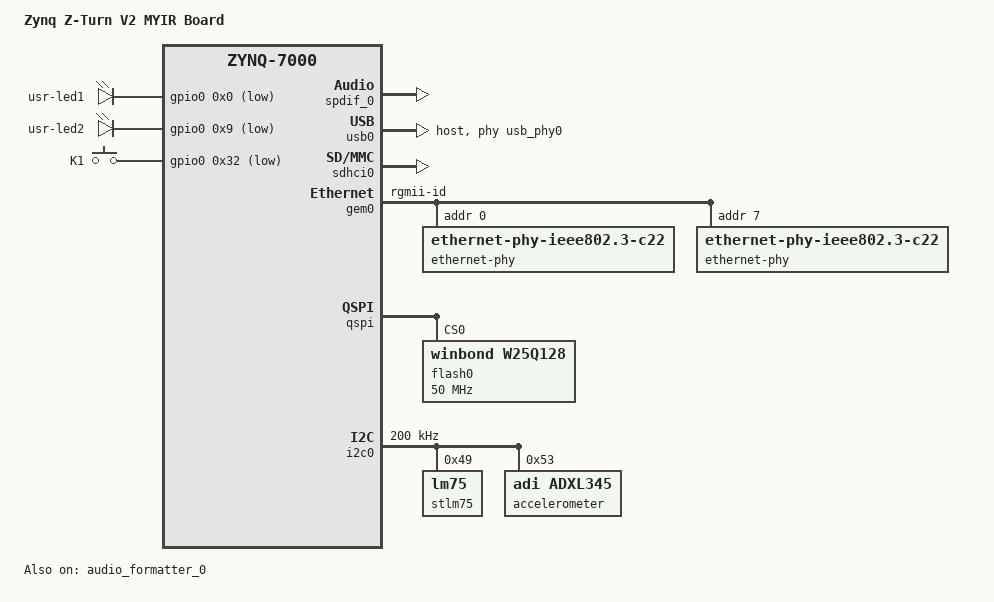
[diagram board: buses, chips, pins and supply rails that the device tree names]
/include/ "system-conf.dtsi"
/ {
  model = "Zynq Z-Turn V2 MYIR Board";
  compatible = "myir,zynq-zturn", "xlnx,zynq-7000";
  
  gpio-leds {
    compatible = "gpio-leds";
    usr-led1 {
      label = "usr-led1";
      gpios = <&gpio0 0x0 0x1>;
      default-state = "off";
    };
   
    usr-led2 {
      label = "usr-led2";
      gpios = <&gpio0 0x9 0x1>;
      default-state = "off";
    };
  };
   
  gpio-keys {
    compatible = "gpio-keys";
    autorepeat;
    K1 {
      label = "K1";
      gpios = <&gpio0 0x32 0x1>;
      linux,code = <0x66>;
      wakeup-source;
      autorepeat;
    };
  };

  usb_phy0: usb_phy@0 {
    compatible = "ulpi-phy";
    #phy-cells = <0>;
    reg = <0xe0002000 0x1000>;
    view-port = <0x170>;
    drv-vbus;
  };
  
  sound {
      compatible = "simple-audio-card";
      simple-audio-card,name = "Zynq Sound Formatter";
      simple-audio-card,bitclock-master = <&dailink0_master>;
      simple-audio-card,frame-master = <&dailink0_master>;
      
      /* advertise supported rates & formats */
      simple-audio-card,rates = <32000 48000 96000 192000>;
      simple-audio-card,formats = "S16_LE", "S24_LE";
  
      simple-audio-card,cpu {
          sound-dai = <&audio_formatter_0>;  /* <- Sound Formatter IP */
      };
  
      dailink0_master: simple-audio-card,codec {
          sound-dai = <&spdif_0>;
      };
  };
};

/* Fix broken link to DAI */
&audio_formatter_0 {
  status = "okay";
  xlnx,tx = <&spdif_0>;
};

/* Link the SPDIF IP with its Audio Formatter */
&spdif_0 {
  status = "okay";
  xlnx,snd-pcm = <&audio_formatter_0>;
};

&usb0 {
  status = "okay";
  dr_mode = "host";
  phy_type = "ulpi";
  usb-phy = <&usb_phy0>;
};


&gpio0 {
  status = "okay";
};

&sdhci0 {
  status = "okay";
};

&gem0 {
  status = "okay";
  compatible = "xlnx,zynq-gem";
  xlnx,has-mdio = <0x1>;
  phy-mode = "rgmii-id";
  xlnx,ptp-enet-clock = <0x69f6bcb>;
 
  ethernet-phy@0 {
      compatible = "ethernet-phy-ieee802.3-c22";
      reg = <0>;
      max-speed = <1000>;
  };

  ethernet-phy@7 {
      compatible = "ethernet-phy-ieee802.3-c22";
      reg = <7>;
      max-speed = <1000>;
  };  
};

&qspi {
  status = "okay";
  
	flash0: flash@0 {
		compatible = "winbond,w25q128", "jedec,spi-nor";
		reg = <0x0>;
		spi-max-frequency = <50000000>;
    size = <0x1000000>;  /* 16MB (128Mbit) */
    has-dpd;
    t-enter-dpd = <20000>;
    t-exit-dpd = <100000>;
    jedec-id = [ef 70 18];
	};
};

&i2c0 {
  status = "okay";
  clock-frequency = <200000>;
 
  stlm75@49 {
    status = "okay";
    compatible = "lm75";
    reg = <0x49>;
  };
 
  accelerometer@53 {
    compatible = "adi,adxl345", "adxl345", "adi,adxl34x", "adxl34x";
    reg = <0x53>;
    interrupt-parent = <&intc>;
    interrupts = <0x0 0x1e 0x4>;
  };
};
